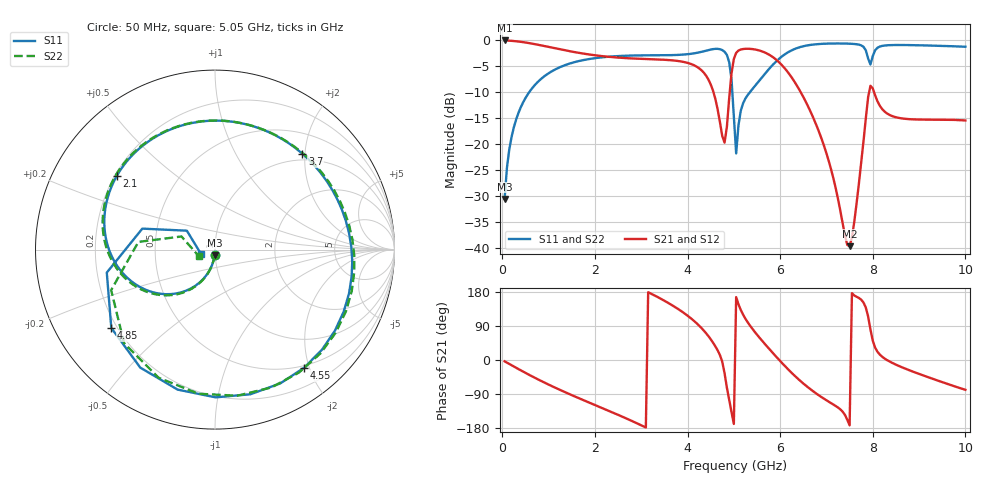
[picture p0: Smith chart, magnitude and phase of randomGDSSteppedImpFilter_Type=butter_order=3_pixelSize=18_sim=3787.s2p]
! freq	dB(S11)	phase(S11)	dB(S12)	phase(S12)
!  dB(S21)	phase(S21)	dB(S22)	phase(S22)
!S-par simulation data
#  GHz  S  DB  R 50
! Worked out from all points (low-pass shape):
!   200 points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, 50 MHz to 10 GHz, reference 50 ohm
!   highest |S21| = -0.01 dB at 50 MHz (marker M1); lowest = -39.6 dB at 7.5 GHz (marker M2)
!   |S21| within 3 dB of the highest: start of sweep to 2.143 GHz; 5.024 GHz to 5.809 GHz (785.2 MHz wide, 14.5 % of centre)
!   lowest |S11| = -30.5 dB at 50 MHz (marker M3), VSWR 1.06, Z = 49.7 - j2.97 ohm
!   |S11| at or under -10 dB: start of sweep to 577.8 MHz; 4.968 GHz to 5.342 GHz (374.1 MHz wide, 7.26 % of centre)
!   |S22| runs from -30.5 to -0.6 dB; largest |S21 - S12| = 0
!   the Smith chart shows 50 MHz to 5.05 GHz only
!   S11 on the Smith chart (normalised r, x): 50 MHz: 0.99, -0.06; 2.1 GHz: 0.21, +0.32; 3.7 GHz: 0.87, +1.95; 4.55 GHz: 0.46, -1.91; 4.85 GHz: 0.18, -0.33; 5.05 GHz: 0.85, -0.04
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0.05  -30.49 -93.7  -0.01 -3.5  -0.01 -3.5  -30.49 -93.6
0.2  -18.57 -104.5  -0.08 -13.9  -0.08 -13.9  -18.57 -104.1
0.5  -11.09 -125.0  -0.40 -34.0  -0.40 -34.0  -11.08 -124.0
1.75  -3.78 161.8  -2.53 -105.8  -2.53 -105.8  -3.78 165.4
2.1  -3.30 143.3  -2.97 -123.9  -2.97 -123.9  -3.30 147.8
3.4  -2.86 69.0  -3.68 163.1  -3.68 163.1  -2.85 76.8
3.7  -2.82 47.6  -3.86 142.1  -3.86 142.1  -2.81 56.1
4.25  -2.30 -4.7  -5.36 90.7  -5.36 90.7  -2.30 4.3
4.55  -1.68 -53.1  -9.66 45.9  -9.66 45.9  -1.68 -44.5
4.7  -1.69 -89.8  -15.72 13.0  -15.72 13.0  -1.69 -81.3
4.85  -2.81 -142.9  -16.58 -73.1  -16.58 -73.1  -2.77 -134.1
4.95  -7.51 163.9  -6.31 -137.6  -6.31 -137.6  -7.35 174.3
5.05  -21.72 -163.8  -2.40 166.0  -2.40 166.0  -20.20 -159.1
5.3  -10.49 -175.7  -1.61 99.4  -1.61 99.4  -10.41 -166.6
5.75  -5.58 111.0  -2.69 31.1  -2.69 31.1  -5.57 125.0
6.2  -2.13 50.7  -6.51 -28.1  -6.51 -28.1  -2.14 65.8
6.7  -0.81 -2.9  -14.55 -81.4  -14.55 -81.4  -0.81 11.8
7.5  -0.63 -64.9  -39.55 -172.4  -39.55 -172.4  -0.61 -51.1
7.8  -1.24 -89.2  -19.36 151.6  -19.36 151.6  -1.22 -75.7
7.95  -4.63 -84.5  -8.72 80.4  -8.72 80.4  -4.68 -70.8
8.35  -0.91 -102.8  -14.27 -3.2  -14.27 -3.2  -0.88 -88.9
10  -1.22 177.4  -15.39 -78.7  -15.39 -78.7  -1.15 -163.9
